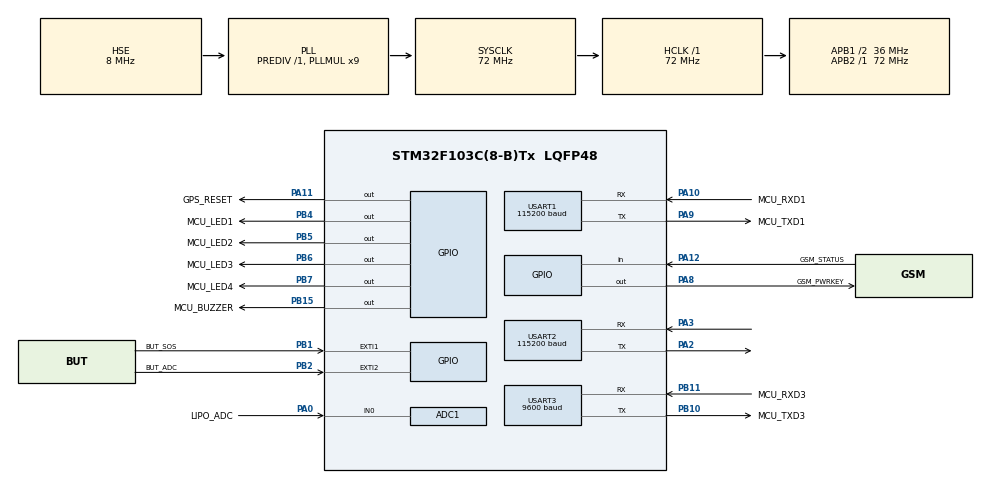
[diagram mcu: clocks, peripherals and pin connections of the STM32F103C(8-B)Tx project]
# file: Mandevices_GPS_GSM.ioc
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ADC1.Channel-0\#ChannelRegularConversion=ADC_CHANNEL_0
ADC1.ContinuousConvMode=ENABLE
ADC1.NbrOfConversionFlag=1
ADC1.Rank-0\#ChannelRegularConversion=1
ADC1.SamplingTime-0\#ChannelRegularConversion=ADC_SAMPLETIME_1CYCLE_5
ADC1.master=1
Mcu.Family=STM32F1
Mcu.Name=STM32F103C(8-B)Tx
Mcu.Package=LQFP48
NVIC.ADC1_2_IRQn=true\:0\:0\:false\:false\:true\:true\:true
NVIC.EXTI1_IRQn=true\:3\:0\:true\:false\:true\:true\:true
NVIC.EXTI2_IRQn=true\:1\:0\:true\:false\:true\:true\:true
NVIC.PriorityGroup=NVIC_PRIORITYGROUP_4
NVIC.TIM1_UP_IRQn=true\:0\:0\:false\:false\:true\:true\:true
NVIC.TIM2_IRQn=true\:1\:0\:true\:false\:true\:true\:true
NVIC.USART2_IRQn=true\:2\:0\:true\:false\:true\:true\:true
NVIC.USART3_IRQn=true\:2\:0\:true\:false\:true\:true\:true
PA0-WKUP.GPIO_Label=LIPO_ADC
PA0-WKUP.Signal=ADCx_IN0
PA10.GPIO_Label=MCU_RXD1
PA10.Mode=Asynchronous
PA10.Signal=USART1_RX
PA11.GPIO_Label=GPS_RESET
PA11.GPIO_PuPd=GPIO_NOPULL
PA11.GPIO_Speed=GPIO_SPEED_FREQ_HIGH
PA11.Signal=GPIO_Output
PA12.GPIO_Label=GSM_STATUS
PA12.Signal=GPIO_Input
PA13.Mode=Serial_Wire
PA13.Signal=SYS_JTMS-SWDIO
PA14.Mode=Serial_Wire
PA14.Signal=SYS_JTCK-SWCLK
PA2.GPIO_Mode=GPIO_MODE_AF_PP
PA2.GPIO_Speed=GPIO_SPEED_FREQ_HIGH
PA2.Mode=Asynchronous
PA2.Signal=USART2_TX
PA3.GPIO_Mode=GPIO_MODE_INPUT
PA3.GPIO_PuPd=GPIO_NOPULL
PA3.Mode=Asynchronous
PA3.Signal=USART2_RX
PA8.GPIO_Label=GSM_PWRKEY
PA8.GPIO_Speed=GPIO_SPEED_FREQ_HIGH
PA8.Signal=GPIO_Output
PA9.GPIO_Label=MCU_TXD1
PA9.Mode=Asynchronous
PA9.Signal=USART1_TX
PB1.GPIO_Label=BUT_SOS
PB1.GPIO_ModeDefaultEXTI=GPIO_MODE_IT_FALLING
PB1.GPIO_PuPd=GPIO_PULLUP
PB1.Signal=GPXTI1
PB10.GPIO_Label=MCU_TXD3
PB10.Mode=Asynchronous
PB10.Signal=USART3_TX
PB11.GPIO_Label=MCU_RXD3
PB11.Mode=Asynchronous
PB11.Signal=USART3_RX
PB15.GPIO_Label=MCU_BUZZER
PB15.GPIO_PuPd=GPIO_NOPULL
PB15.GPIO_Speed=GPIO_SPEED_FREQ_HIGH
PB15.Signal=GPIO_Output
PB2.GPIO_Label=BUT_ADC
PB2.GPIO_ModeDefaultEXTI=GPIO_MODE_IT_FALLING
PB2.Signal=GPXTI2
PB4.GPIO_Label=MCU_LED1
PB4.GPIO_Speed=GPIO_SPEED_FREQ_HIGH
PB4.PinState=GPIO_PIN_SET
PB4.Signal=GPIO_Output
PB5.GPIO_Label=MCU_LED2
PB5.GPIO_Speed=GPIO_SPEED_FREQ_HIGH
PB5.PinState=GPIO_PIN_SET
PB5.Signal=GPIO_Output
PB6.GPIO_Label=MCU_LED3
PB6.GPIO_Speed=GPIO_SPEED_FREQ_HIGH
PB6.PinState=GPIO_PIN_SET
PB6.Signal=GPIO_Output
PB7.GPIO_Label=MCU_LED4
PB7.GPIO_Speed=GPIO_SPEED_FREQ_HIGH
PB7.PinState=GPIO_PIN_SET
PB7.Signal=GPIO_Output
PD0-OSC_IN.Mode=HSE-External-Oscillator
PD0-OSC_IN.Signal=RCC_OSC_IN
PD1-OSC_OUT.Mode=HSE-External-Oscillator
PD1-OSC_OUT.Signal=RCC_OSC_OUT
ProjectManager.HeapSize=0x200
ProjectManager.StackSize=0x400
ProjectManager.TargetToolchain=Makefile
RCC.ADCPresc=RCC_ADCPCLK2_DIV6
RCC.AHBFreq_Value=72000000
RCC.APB1CLKDivider=RCC_HCLK_DIV2
RCC.APB1Freq_Value=36000000
RCC.APB1TimFreq_Value=72000000
RCC.APB2Freq_Value=72000000
RCC.APB2TimFreq_Value=72000000
RCC.HCLKFreq_Value=72000000
RCC.PLLMUL=RCC_PLL_MUL9
RCC.PLLSourceVirtual=RCC_PLLSOURCE_HSE
RCC.SYSCLKFreq_VALUE=72000000
RCC.SYSCLKSource=RCC_SYSCLKSOURCE_PLLCLK
RCC.USBFreq_Value=72000000
SH.ADCx_IN0.0=ADC1_IN0,IN0
TIM1.Period=30000
TIM1.Prescaler=7200
TIM2.AutoReloadPreload=TIM_AUTORELOAD_PRELOAD_ENABLE
TIM2.Period=1000
TIM2.Prescaler=7200
USART1.BaudRate=115200
USART1.VirtualMode=VM_ASYNC
USART2.BaudRate=115200
USART2.VirtualMode=VM_ASYNC
USART3.BaudRate=9600
USART3.VirtualMode=VM_ASYNC
VP_TIM1_VS_ClockSourceINT.Mode=Internal
VP_TIM2_VS_ClockSourceINT.Mode=Internal
board=custom

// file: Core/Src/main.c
/* USER CODE BEGIN Header */
/**
  ******************************************************************************
  * @file           : main.c
  * @brief          : Main program body
  ******************************************************************************
  * @attention
  *
  * <h2><center>&copy; Copyright (c) 2022 STMicroelectronics.
  * All rights reserved.</center></h2>
  *
  * This software component is licensed by ST under BSD 3-Clause license,
  * the "License"; You may not use this file except in compliance with the
  * License. You may obtain a copy of the License at:
  *                        opensource.org/licenses/BSD-3-Clause
  *
  ******************************************************************************
  */
/* USER CODE END Header */
#include "main.h"
#include "adc.h"
#include "tim.h"
#include "usart.h"
#include "gpio.h"

/* USER CODE BEGIN Includes */
#include <stdio.h>
#include <string.h>
#include <stdlib.h>
#include <math.h>
#include "sim800c.h"
#include "l70.h"
/* USER CODE END Includes */

/* USER CODE BEGIN PV */
// char data[100];
bool SOSFlag = false;
char simNumber[20] = "0778554218";
char latData[15] = {0};
char longData[15] = {0};
char simMessage[500] = {0};
char *GPSResponse;
uint16_t ADC_value;
/* USER CODE END PV */

void SystemClock_Config(void);

/* USER CODE BEGIN 0 */

void HAL_UART_RxCpltCallback(UART_HandleTypeDef *huart)
{
  if(huart == &huart2)
  {
    sim800c_callback();
  }
  if(huart == &huart3)
  {
    l70_callback();
  }
}

void HAL_TIM_PeriodElapsedCallback(TIM_HandleTypeDef *htim)
{
  if(htim == &htim2)
  {
    sim800c_timerCallback();
  }
  else if(htim == &htim1)
  {
    HAL_GPIO_WritePin(GPIOB, GPIO_PIN_4, GPIO_PIN_SET);
    HAL_GPIO_WritePin(GPIOB, GPIO_PIN_5, GPIO_PIN_SET);
    HAL_GPIO_WritePin(GPIOB, GPIO_PIN_6, GPIO_PIN_SET);
    HAL_GPIO_WritePin(GPIOB, GPIO_PIN_7, GPIO_PIN_SET);
    HAL_TIM_Base_Stop_IT(&htim1);
  }
}

void HAL_GPIO_EXTI_Callback(uint16_t GPIO_Pin)
{
  if (GPIO_Pin == BUT_ADC_Pin)
  {
    ADC_value = HAL_ADC_GetValue(&hadc1);
    // >4.1V
    if (ADC_value > 3057)
    {
      HAL_GPIO_WritePin(GPIOB, GPIO_PIN_4, GPIO_PIN_RESET);
      HAL_GPIO_WritePin(GPIOB, GPIO_PIN_5, GPIO_PIN_RESET);
      HAL_GPIO_WritePin(GPIOB, GPIO_PIN_6, GPIO_PIN_RESET);
      HAL_GPIO_WritePin(GPIOB, GPIO_PIN_7, GPIO_PIN_RESET);
    }
    // 3.7-4.1V
    else if (ADC_value <= 3057 && ADC_value > 2817)
    {
      HAL_GPIO_WritePin(GPIOB, GPIO_PIN_4, GPIO_PIN_SET);
      HAL_GPIO_WritePin(GPIOB, GPIO_PIN_5, GPIO_PIN_RESET);
      HAL_GPIO_WritePin(GPIOB, GPIO_PIN_6, GPIO_PIN_RESET);
      HAL_GPIO_WritePin(GPIOB, GPIO_PIN_7, GPIO_PIN_RESET);
    }
    // 3.3->3.7V
    else if (ADC_value <= 2817 && ADC_value > 2705)
    {
      HAL_GPIO_WritePin(GPIOB, GPIO_PIN_4, GPIO_PIN_SET);
      HAL_GPIO_WritePin(GPIOB, GPIO_PIN_5, GPIO_PIN_SET);
      HAL_GPIO_WritePin(GPIOB, GPIO_PIN_6, GPIO_PIN_RESET);
      HAL_GPIO_WritePin(GPIOB, GPIO_PIN_7, GPIO_PIN_RESET);
    }
    // 0->3.3V
    else if (ADC_value <= 2705)
    {
      HAL_GPIO_WritePin(GPIOB, GPIO_PIN_4, GPIO_PIN_SET);
      HAL_GPIO_WritePin(GPIOB, GPIO_PIN_5, GPIO_PIN_SET);
      HAL_GPIO_WritePin(GPIOB, GPIO_PIN_6, GPIO_PIN_SET);
      HAL_GPIO_WritePin(GPIOB, GPIO_PIN_7, GPIO_PIN_RESET);
    }
    TIM1->CNT = 0;
    HAL_TIM_Base_Start_IT(&htim1);
  }
  else if (GPIO_Pin == BUT_SOS_Pin)
  {
    SOSFlag = true;
    HAL_GPIO_WritePin(MCU_BUZZER_GPIO_Port, MCU_BUZZER_Pin, GPIO_PIN_SET);
  }
}

/* USER CODE END 0 */

int main(void)
{
  /* USER CODE BEGIN 1 */
  uint32_t timeStart = 0;
  uint32_t timeCurrent = 0;

  // Test GPS Tracking
  // char GPSTest[4000] = {0};
  // int GPSTestIndex = 0;
  // int len = 0;
  /* USER CODE END 1 */

  /* MCU Configuration--------------------------------------------------------*/

  /* Reset of all peripherals, Initializes the Flash interface and the Systick. */
  HAL_Init();

  /* Configure the system clock */
  SystemClock_Config();

  /* Initialize all configured peripherals */
  MX_GPIO_Init();
  MX_ADC1_Init();
  MX_USART2_UART_Init();
  MX_USART3_UART_Init();
  MX_USART1_UART_Init();
  MX_TIM2_Init();
  MX_TIM1_Init();
  /* USER CODE BEGIN 2 */
  HAL_ADC_Start(&hadc1);
  timeStart = HAL_GetTick();
  while(HAL_GPIO_ReadPin(GSM_STATUS_GPIO_Port, GSM_STATUS_Pin) == GPIO_PIN_RESET)
  {
    HAL_GPIO_WritePin(GSM_PWRKEY_GPIO_Port, GSM_PWRKEY_Pin, SET);
    HAL_Delay(1000);
  }
  sim800c_init();
  HAL_Delay(100);
  l70_init();
  HAL_Delay(100);
  HAL_UART_Transmit_IT(&huart2, (uint8_t*)"AT+HTTPINIT\r\n", strlen("AT+HTTPINIT\r\n"));
  HAL_Delay(1000);
  // do
  // {
  //   GPSResponse = l70_receiveGPS();
  //   l70_handleGPS(latData, longData, GPSResponse);
  //   sprintf(simMessage, "https://www.google.com/maps/search/?api=1&query=%s,%s\n", latData, longData);
  //   HAL_UART_Transmit(&huart1, (uint8_t*)simMessage, 100, 200);
  //   HAL_Delay(5000);
  // } while (((strstr(latData, ".000000") != NULL) && (strstr(longData, ".000000") != NULL)));

  /* USER CODE END 2 */

  /* Infinite loop */
  while(1)
  {

    /* USER CODE BEGIN 3 */
    if(SOSFlag == true)
    {
      HAL_GPIO_WritePin(MCU_BUZZER_GPIO_Port, MCU_BUZZER_Pin, SET);
      timeCurrent = HAL_GetTick();
      if(timeCurrent - timeStart > 3000)
      {
        timeStart = timeCurrent;
        HAL_UART_Transmit(&huart1, (uint8_t*)"Bat dau gui tin nhan\r\n", strlen("Bat dau gui tin nhan\r\n"), 100);
        GPSResponse = l70_receiveGPS();
        HAL_GPIO_WritePin(MCU_BUZZER_GPIO_Port, MCU_BUZZER_Pin, RESET);
        l70_handleGPS(latData, longData, GPSResponse);
        sprintf(simMessage, "https://www.google.com/maps/search/?api=1&query=%s,%s\n", latData, longData);
        sim800c_sendSMS(latData, longData, simNumber, simMessage);
        memset(simMessage, '\0', sizeof(simMessage));
        SOSFlag = false;
      }
      else
      {
        HAL_UART_Transmit(&huart1, (uint8_t*)"Doi mot luc\r\n", strlen("Doi mot luc\r\n"), 100);
        SOSFlag = false;
        HAL_GPIO_WritePin(MCU_BUZZER_GPIO_Port, MCU_BUZZER_Pin, RESET);
      }
    }

    if(HAL_GetTick() - timeStart > 10000)
    {
      HAL_GPIO_WritePin(MCU_BUZZER_GPIO_Port, MCU_BUZZER_Pin, SET);
      timeStart = HAL_GetTick();
      GPSResponse = l70_receiveGPS();
      HAL_GPIO_WritePin(MCU_BUZZER_GPIO_Port, MCU_BUZZER_Pin, RESET);
      l70_handleGPS(latData, longData, GPSResponse);
      sprintf(simMessage, "AT+HTTPPARA=URL,\"http://demo2.traccar.org:5055/?id=gps2001&lat=%s&lon=%s&battery=%s\"\r\n", latData, longData, battery);
      HAL_UART_Transmit_IT(&huart2, (uint8_t*)simMessage, strlen(simMessage));
      HAL_Delay(3000);
      HAL_UART_Transmit_IT(&huart2, (uint8_t*)"AT+HTTPACTION=1\r\n", strlen("AT+HTTPACTION=1\r\n"));
      HAL_Delay(4000);
    }

    // Test GPS Tracking
    // timeCurrent = HAL_GetTick();
    // if(timeCurrent - timeStart > 5000)
    // {
    //   HAL_GPIO_WritePin(MCU_BUZZER_GPIO_Port, MCU_BUZZER_Pin, SET);
    //   timeStart = timeCurrent;
    //   GPSResponse = l70_receiveGPS();
    //   l70_handleGPS(latData, longData, GPSResponse);
    //   sprintf(simMessage, "{ lat: %s, lng: %s },\n", latData, longData);
    //   len = strlen(simMessage);
    //   memcpy(GPSTest + len * GPSTestIndex, simMessage, len);
    //   GPSTestIndex++;
    //   if(GPSTestIndex == 10)
    //   {
    //     sim800c_sendSMS(latData, longData, simNumber, GPSTest);
    //     GPSTestIndex = 0;
    //   }
    // }
    // HAL_GPIO_WritePin(MCU_BUZZER_GPIO_Port, MCU_BUZZER_Pin, RESET);

  }
  /* USER CODE END 3 */
}

void SystemClock_Config(void)
{
  RCC_OscInitTypeDef RCC_OscInitStruct = {0};
  RCC_ClkInitTypeDef RCC_ClkInitStruct = {0};
  RCC_PeriphCLKInitTypeDef PeriphClkInit = {0};

  /** Initializes the RCC Oscillators according to the specified parameters
  * in the RCC_OscInitTypeDef structure.
  */
  RCC_OscInitStruct.OscillatorType = RCC_OSCILLATORTYPE_HSE;
  RCC_OscInitStruct.HSEState = RCC_HSE_ON;
  RCC_OscInitStruct.HSEPredivValue = RCC_HSE_PREDIV_DIV1;
  RCC_OscInitStruct.HSIState = RCC_HSI_ON;
  RCC_OscInitStruct.PLL.PLLState = RCC_PLL_ON;
  RCC_OscInitStruct.PLL.PLLSource = RCC_PLLSOURCE_HSE;
  RCC_OscInitStruct.PLL.PLLMUL = RCC_PLL_MUL9;
  if (HAL_RCC_OscConfig(&RCC_OscInitStruct) != HAL_OK)
  {
    Error_Handler();
  }
  /** Initializes the CPU, AHB and APB buses clocks
  */
  RCC_ClkInitStruct.ClockType = RCC_CLOCKTYPE_HCLK|RCC_CLOCKTYPE_SYSCLK
                              |RCC_CLOCKTYPE_PCLK1|RCC_CLOCKTYPE_PCLK2;
  RCC_ClkInitStruct.SYSCLKSource = RCC_SYSCLKSOURCE_PLLCLK;
  RCC_ClkInitStruct.AHBCLKDivider = RCC_SYSCLK_DIV1;
  RCC_ClkInitStruct.APB1CLKDivider = RCC_HCLK_DIV2;
  RCC_ClkInitStruct.APB2CLKDivider = RCC_HCLK_DIV1;

  if (HAL_RCC_ClockConfig(&RCC_ClkInitStruct, FLASH_LATENCY_2) != HAL_OK)
  {
    Error_Handler();
  }
  PeriphClkInit.PeriphClockSelection = RCC_PERIPHCLK_ADC;
  PeriphClkInit.AdcClockSelection = RCC_ADCPCLK2_DIV6;
  if (HAL_RCCEx_PeriphCLKConfig(&PeriphClkInit) != HAL_OK)
  {
    Error_Handler();
  }
}

void Error_Handler(void)
{
  __disable_irq();
  while (1)
  {
  }
}

/************************ (C) COPYRIGHT STMicroelectronics *****END OF FILE****/
